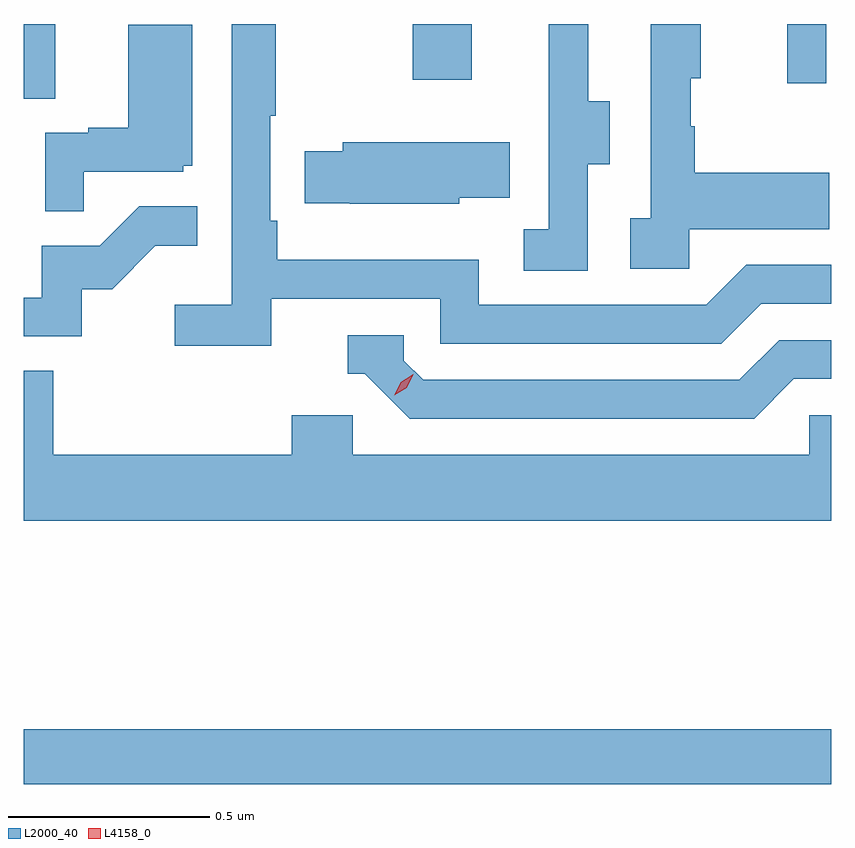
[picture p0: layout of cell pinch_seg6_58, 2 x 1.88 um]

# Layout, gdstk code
import gdstk
lib = gdstk.Library(unit=1e-6, precision=1e-09)
def R(c, l, rs):  # rectangles x0, y0, x1, y1
    for r in rs: c.add(gdstk.rectangle(r[:2], r[2:], *l))
def P(c, l, *ps):  # polygons
    for p in ps: c.add(gdstk.Polygon(p, *l))
L2000_40 = (2000, 40)
L4158_0 = (4158, 0)

pinch_seg6_58 = lib.new_cell('pinch_seg6_58')
R(pinch_seg6_58, L2000_40, [(964.507,937.36,966.507,937.496), (964.507,939.058,964.585,939.243), (966.398,939.096,966.495,939.243), (965.47,939.105,965.617,939.243)])
P(pinch_seg6_58, L2000_40, [(965.904,938.896),(965.959,938.896),(965.959,939.051),(965.905,939.051),(965.905,939.243),(965.807,939.243),(965.807,939.039),(965.808,939.039),(965.808,938.735),(965.745,938.735),(965.745,938.632),(965.904,938.632)],
  [(965.12,938.562),(965.538,938.562),(965.538,938.451),(966.235,938.451),(966.334,938.55),(966.507,938.55),(966.507,938.646),(966.297,938.646),(966.198,938.547),(965.634,938.547),(965.634,938.659),(965.135,938.659),(965.135,938.755),(965.118,938.755),(965.118,939.016),(965.131,939.016),(965.131,939.243),(965.022,939.243),(965.022,938.548),(964.881,938.548),(964.881,938.446),(965.12,938.446)],
  [(966.156,938.735),(966.503,938.735),(966.503,938.875),(966.169,938.875),(966.169,938.99),(966.159,938.99),(966.159,939.108),(966.184,939.108),(966.184,939.243),(966.06,939.243),(966.06,938.762),(966.009,938.762),(966.009,938.637),(966.156,938.637)],
  [(964.655,938.877),(964.902,938.877),(964.902,938.892),(964.924,938.892),(964.924,939.241),(964.766,939.241),(964.766,938.986),(964.667,938.986),(964.667,938.973),(964.56,938.973),(964.56,938.779),(964.655,938.779)],
  [(965.586,938.813),(965.711,938.813),(965.711,938.95),(965.297,938.95),(965.297,938.928),(965.203,938.928),(965.203,938.799),(965.314,938.799),(965.314,938.798),(965.586,938.798)],
  [(964.65,938.586),(964.726,938.586),(964.833,938.693),(964.937,938.693),(964.937,938.792),(964.793,938.792),(964.695,938.694),(964.551,938.694),(964.551,938.565),(964.507,938.565),(964.507,938.469),(964.65,938.469)],
  [(966.415,938.364),(966.507,938.364),(966.507,938.46),(966.378,938.46),(966.279,938.361),(965.496,938.361),(965.448,938.409),(965.448,938.472),(965.309,938.472),(965.309,938.376),(965.352,938.376),(965.463,938.265),(966.316,938.265)],
  [(966.507,938.274),(966.453,938.274),(966.453,938.176),(965.322,938.176),(965.322,938.274),(965.171,938.274),(965.171,938.176),(964.58,938.176),(964.58,938.384),(964.507,938.384),(964.507,938.012),(966.507,938.012)])
P(pinch_seg6_58, L4158_0, [(965.425,938.323),(965.425,938.323),(965.441,938.356),(965.472,938.375),(965.472,938.375),(965.472,938.375),(965.456,938.342),(965.425,938.323)])

lib.write_gds('pinch_seg6_58.gds')
